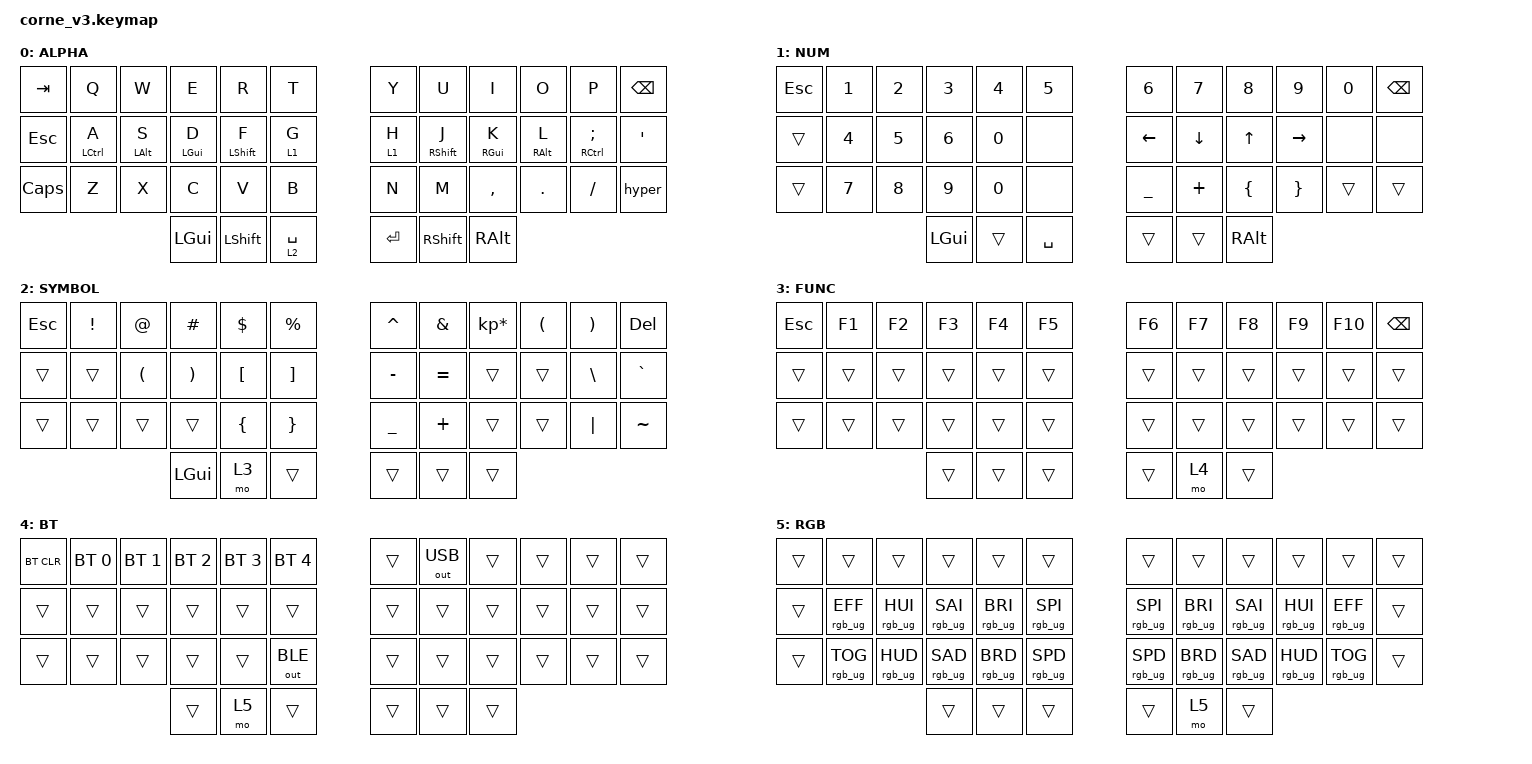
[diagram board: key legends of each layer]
/*
 * Copyright (c) 2020 The ZMK Contributors
 *
 * SPDX-License-Identifier: MIT
 */
/* THIS FILE WAS GENERATED!
 *
 * This file was generated automatically. You may or may not want to
 * edit it directly.
 */

#include <behaviors.dtsi>
#include <dt-bindings/zmk/bt.h>
#include <dt-bindings/zmk/keys.h>
#include <dt-bindings/zmk/rgb.h>
#include <dt-bindings/zmk/outputs.h>
/ {
    behaviors {
        hm: homerow_mods {
            compatible = "zmk,behavior-hold-tap";
            label = "HOMEROW_MODS";
            #binding-cells = <2>;
            tapping-term-ms = <175>;
            quick-tap-ms = <150>;
            require-prior-idle-ms = <175>;
            flavor = "tap-preferred";
            bindings = <&kp>, <&kp>;
        };

        lt_spc: layer_tap_space {
            compatible = "zmk,behavior-hold-tap";
            label = "LAYER_TAP_SPACE";
            #binding-cells = <2>;
            tapping-term-ms = <250>;
            quick-tap-ms = <250>;
            flavor = "tap-preferred";
            bindings = <&mo>, <&kp>;
        };

        lt_ret: layer_tap_return {
            compatible = "zmk,behavior-hold-tap";
            label = "LAYER_TAP_RETURN";
            #binding-cells = <2>;
            tapping-term-ms = <150>;
            quick-tap-ms = <150>;
            flavor = "hold-preferred";
            bindings = <&mo>, <&kp>;
        };

        esc_hold: escape_hold {
            compatible = "zmk,behavior-hold-tap";
            label = "ESCAPE_HOLD";
            #binding-cells = <2>;
            tapping-term-ms = <200>;
            quick-tap-ms = <200>;
            flavor = "tap-preferred";
            bindings = <&kp>, <&kp>;
        };
    };

    macros {
        hyper: hyper {
            compatible = "zmk,behavior-macro";
            label = "HYPER";
            #binding-cells = <0>;
            bindings = <&macro_press &kp LSHFT &kp LCTRL &kp LALT &kp LGUI>,
                       <&macro_pause_for_release>,
                       <&macro_release &kp LSHFT &kp LCTRL &kp LALT &kp LGUI>;
        };
    };

    combos {
        compatible = "zmk,combos";
        combo_caps_word {
            timeout-ms = <50>;
            key-positions = <16 19>;
            bindings = <&caps_word>;
        };
    };

    keymap {
        compatible = "zmk,keymap";

        default_layer {
            bindings = <
          &kp TAB       &kp Q       &kp W       &kp E        &kp R      &kp T      &kp Y        &kp U        &kp I       &kp O       &kp P   &kp BSPC
  &kp ESCAPE  &hm LCTRL A  &hm LALT S  &hm LGUI D  &hm LSHFT F      &lt_spc 1 G      &lt_spc 1 H  &hm RSHFT J  &hm RGUI K  &hm RALT L  &hm RCTRL SEMI    &kp SQT
         &kp CAPS       &kp Z       &kp X       &kp C        &kp V      &kp B      &kp N        &kp M    &kp COMMA     &kp DOT    &kp FSLH     &hyper
                                              &kp LGUI   &kp LSHFT  &lt_spc 2 SPACE    &kp RET   &kp RSHFT     &kp RALT
            >;

            display-name = "ALPHA";
        };

        layer_lower {
            bindings = <
&kp ESC  &kp N1        &kp N2    &kp N3  &kp N4     &kp N5            &kp N6    &kp N7          &kp N8           &kp N9  &kp N0  &kp BACKSPACE
 &trans  &kp N4        &kp N5    &kp N6  &kp N0      &none          &kp LEFT  &kp DOWN          &kp UP        &kp RIGHT  &none         &none
 &trans  &kp N7  &kp NUMBER_8    &kp N9  &kp N0      &none    &kp UNDERSCORE  &kp PLUS  &kp LEFT_BRACE  &kp RIGHT_BRACE  &trans         &trans
                               &kp LGUI  &trans     &kp SPACE            &trans  &trans        &kp RALT
            >;

            display-name = "NUM";
        };

        layer_raise {
            bindings = <
&kp ESC  &kp EXCL  &kp AT   &kp HASH  &kp DLLR  &kp PRCNT    &kp CARET   &kp AMPS   &kp KP_MULTIPLY  &kp LPAR &kp RPAR  &kp DEL
 &trans    &trans  &kp LPAR &kp RPAR  &kp LBKT  &kp RBKT     &kp MINUS   &kp EQUAL  &trans           &trans   &kp BSLH  &kp GRAVE
 &trans    &trans  &trans   &trans    &kp LBRC  &kp RBRC     &kp UNDER   &kp PLUS   &trans           &trans   &kp PIPE  &kp TILDE
                           &kp LGUI     &mo 3     &trans         &trans     &trans           &trans
            >;

            display-name = "SYMBOL";
        };

        layer_upper {
            bindings = <
&kp ESCAPE  &kp F1  &kp F2  &kp F3  &kp F4  &kp F5    &kp F6  &kp F7  &kp F8  &kp F9  &kp F10  &kp BACKSPACE
    &trans  &trans  &trans  &trans  &trans  &trans    &trans  &trans  &trans  &trans   &trans         &trans
    &trans  &trans  &trans  &trans  &trans  &trans    &trans  &trans  &trans  &trans   &trans         &trans
                            &trans  &trans  &trans    &trans   &mo 4  &trans
            >;

            display-name = "FUNC";
        };

        bluetooth {
            bindings = <
&bt BT_CLR  &bt BT_SEL 0  &bt BT_SEL 1  &bt BT_SEL 2  &bt BT_SEL 3  &bt BT_SEL 4    &trans  &out OUT_USB  &trans  &trans  &trans  &trans
    &trans  &trans        &trans        &trans        &trans        &trans          &trans  &trans  &trans  &trans  &trans  &trans
    &trans  &trans        &trans        &trans        &trans        &out OUT_BLE    &trans  &trans  &trans  &trans  &trans  &trans
                                              &trans         &mo 5        &trans    &trans  &trans  &trans
            >;

            display-name = "BT";
        };

        RGB {
            bindings = <
&trans           &trans           &trans           &trans           &trans           &trans             &trans           &trans           &trans           &trans           &trans  &trans
&trans  &rgb_ug RGB_EFF  &rgb_ug RGB_HUI  &rgb_ug RGB_SAI  &rgb_ug RGB_BRI  &rgb_ug RGB_SPI    &rgb_ug RGB_SPI  &rgb_ug RGB_BRI  &rgb_ug RGB_SAI  &rgb_ug RGB_HUI  &rgb_ug RGB_EFF  &trans
&trans  &rgb_ug RGB_TOG  &rgb_ug RGB_HUD  &rgb_ug RGB_SAD  &rgb_ug RGB_BRD  &rgb_ug RGB_SPD    &rgb_ug RGB_SPD  &rgb_ug RGB_BRD  &rgb_ug RGB_SAD  &rgb_ug RGB_HUD  &rgb_ug RGB_TOG  &trans
                                                   &trans           &trans           &trans             &trans            &mo 5           &trans
            >;

            display-name = "RGB";
        };
    };
};
